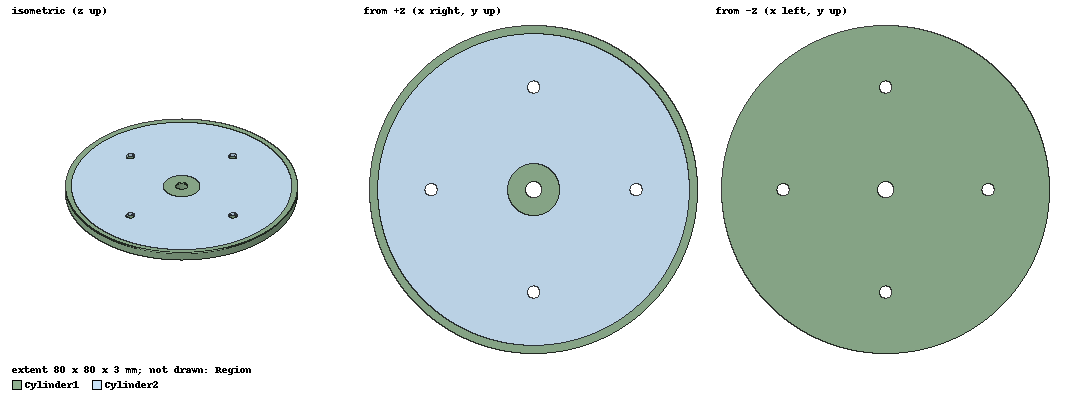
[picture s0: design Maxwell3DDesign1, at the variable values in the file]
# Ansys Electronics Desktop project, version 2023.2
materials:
  vacuum: permittivity=1
  Teflon (tm): permittivity=2.1 dielectric_loss_tangent=0.001
  air: permittivity=1.0006 permeability=1.0000004
  HDPE plastic: permittivity=2.3 dielectric_loss_tangent=0.0005
  Arlon DiClad 880 (tm): permittivity=2.2 dielectric_loss_tangent=0.0009

design Maxwell3DDesign1 (Maxwell 3D, Electrostatic, model units mm)
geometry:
  Cylinder1 [Arlon DiClad 880 (tm)] = cylinder(axis=Z, base_centre=(0mm, 0mm, 0mm), radius=40mm, height=3mm)
  Cylinder2 [air] = cylinder(axis=Z, base_centre=(0mm, 0mm, 2mm), radius=38mm, height=1mm)
  Cylinder3 = cylinder(axis=Z, base_centre=(0mm, 0mm, -1mm), radius=6.35mm, height=15mm)
  Cylinder2.subtract(Cylinder3)
  Cylinder10 = cylinder(axis=Z, base_centre=(0mm, 25mm, 0mm), radius=1.5mm, height=10mm)
  Cylinder11 = cylinder(axis=Z, base_centre=(25mm, 0mm, 0mm), radius=1.5mm, height=10mm)
  Cylinder12 = cylinder(axis=Z, base_centre=(-25mm, 0mm, 0mm), radius=1.5mm, height=10mm)
  Cylinder13 = cylinder(axis=Z, base_centre=(0mm, -25mm, 0mm), radius=1.5mm, height=10mm)
  Cylinder10_1 = Cylinder10.copy()
  Cylinder11_1 = Cylinder11.copy()
  Cylinder12_1 = Cylinder12.copy()
  Cylinder13_1 = Cylinder13.copy()
  Cylinder1.subtract(Cylinder10_1, Cylinder11_1, Cylinder12_1, Cylinder13_1)
  Cylinder2.subtract(Cylinder10..Cylinder13)
  Cylinder14 = cylinder(axis=Z, base_centre=(0mm, 0mm, -1mm), radius=2mm, height=17mm)
  Cylinder1.subtract(Cylinder14)
  Region [vacuum] = region(percentage_offset=50 on all sides)
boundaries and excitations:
  Voltage1: Voltage Objects=Region Voltage=100kV
  Charge1: Charge Objects=Cylinder2 Value=6.29e-06
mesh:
  initial mesh: GlobalCurvilinear{Apply}
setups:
  Setup1: Electrostatic MaximumPasses=50 MinimumPasses=2 MinimumConvergedPasses=1 PercentRefinement=30 PercentError=0.011 NonLinearResidual=0.001
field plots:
  E_Vector1: E in Cylinder2 on Setup1 : LastAdaptive
